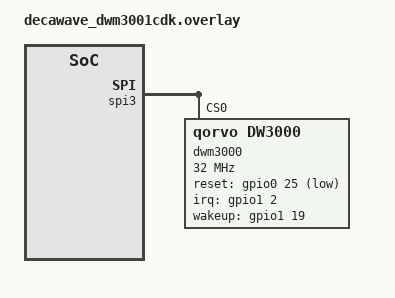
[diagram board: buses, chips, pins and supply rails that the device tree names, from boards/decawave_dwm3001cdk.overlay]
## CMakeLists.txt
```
cmake_minimum_required(VERSION 3.20)

set(BOARD decawave_dwm3001cdk)
set(DTS_ROOT ${CMAKE_CURRENT_SOURCE_DIR})
find_package(Zephyr REQUIRED HINTS $ENV{ZEPHYR_BASE})
project(uwb_bringup)

add_subdirectory(drivers/dw3000)

target_include_directories(app PRIVATE
    drivers/dw3000/inc
    drivers/platform
    lib/uwb
)
  
# target_link_libraries(app PRIVATE
#     ${CMAKE_CURRENT_SOURCE_DIR}/drivers/dw3000/lib/libdwt_uwb_driver-m4-hfp-6.0.14.a
# )

target_sources(app PRIVATE
    src/main.c
    drivers/platform/dw3000_spi.c
    drivers/platform/dw3000_hw.c
    drivers/platform/port.c
    drivers/platform/deca_port.c
    lib/uwb/uwb.c
)
```

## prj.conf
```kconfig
# --- Console / UART ---
CONFIG_UART_CONSOLE=y
CONFIG_PRINTK=y
CONFIG_CONSOLE_GETCHAR=y

# --- SPI (for DW3110) ---
CONFIG_SPI=y

# --- GPIO (for DW3110 reset and IRQ lines) ---
CONFIG_GPIO=y

# --- Logging (optional but useful during bring-up) ---
CONFIG_LOG=y
CONFIG_LOG_DEFAULT_LEVEL=3
CONFIG_LOG_MODE_IMMEDIATE=y

# --- Disable everything we are NOT using ---
CONFIG_BT=n
CONFIG_NETWORKING=n

# --- Stack / heap: Qorvo driver needs some room ---
CONFIG_MAIN_STACK_SIZE=4096
CONFIG_HEAP_MEM_POOL_SIZE=8192

CONFIG_FPU=y
CONFIG_FPU_SHARING=y
```

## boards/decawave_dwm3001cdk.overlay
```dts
// SPI property defined cause UWB module uses SPI connection

&spi3 {
    dwm3000: dw3000@0 {
        compatible = "qorvo,dw3000";
        spi-max-frequency = <32000000>;
        status = "okay";
        reg = <0>;
        reset-gpios = <&gpio0 25 GPIO_ACTIVE_LOW>;
        irq-gpios = <&gpio1 2 GPIO_ACTIVE_HIGH>;
        wakeup-gpios = <&gpio1 19 GPIO_ACTIVE_HIGH>;
        cs-gpios = <&gpio1 6 GPIO_ACTIVE_LOW>;
    };
};
```

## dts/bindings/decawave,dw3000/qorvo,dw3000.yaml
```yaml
# Copyright (c) 2022, Bruno Randolf <br1@einfach.org>
#
# SPDX-License-Identifier: Apache-2.0

description: Qorvo DW3000 (SPI)

compatible: "qorvo,dw3000"

include: spi-device.yaml

properties:
    reset-gpios:
      type: phandle-array
      required: true
      description: RESET pin (active low)

    irq-gpios:
      type: phandle-array
      required: true
      description: IRQ pin (active high)

    wakeup-gpios:
      type: phandle-array
      required: false
      description: WAKEUP pin (active low)

    spi-pol-gpios:
      type: phandle-array
      required: false
      description: SPI Polarity pin

    spi-pha-gpios:
      type: phandle-array
      required: false
      description: SPI Phase pin
      
    cs-gpios:
      type: phandle-array
      required: false
      description: SPI chip select pin
```

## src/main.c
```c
/* TDOA TAG (BLINK TRANSMITTER) */

#include <zephyr/kernel.h>
#include <zephyr/logging/log.h>

#include "deca_device_api.h"
#include "deca_probe_interface.h"
#include "dw3000_hw.h"
#include "port.h"

LOG_MODULE_REGISTER(tdoa_tag, LOG_LEVEL_INF);

#define ANT_DLY 26194

#define MSG_BLINK 0x20

static dwt_config_t config = {
    .chan = 9,
    .txPreambLength = DWT_PLEN_128,
    .rxPAC = DWT_PAC8,
    .txCode = 9,
    .rxCode = 9,
    .sfdType = DWT_SFD_DW_8,
    .dataRate = DWT_BR_6M8,
    .phrMode = DWT_PHRMODE_STD,
    .phrRate = DWT_PHRRATE_STD,
    .sfdTO = (129 + 8 - 8),
    .stsMode = DWT_STS_MODE_OFF,
    .stsLength = DWT_STS_LEN_64,
    .pdoaMode = DWT_PDOA_M0,
};

/* INIT */

static int uwb_init(void)
{
    dw_device_init();
    dw3000_hw_wakeup_pin_low();
    Sleep(5);

    port_set_dw_ic_spi_slowrate();

    if(dwt_probe((struct dwt_probe_s*)&dw3000_probe_interf)!=DWT_SUCCESS)
        return -1;

    port_set_dw_ic_spi_fastrate();

    if(dwt_initialise(DWT_DW_INIT)!=DWT_SUCCESS)
        return -1;

    if(dwt_configure(&config)!=DWT_SUCCESS)
        return -1;

    dwt_settxantennadelay(ANT_DLY);

    return 0;
}

/* BLINK LOOP */

static void tag_loop(void)
{
    uint8_t tx_buf[2];
    static uint8_t blink_seq = 0;

    while(1)
    {
        tx_buf[0] = MSG_BLINK;
        tx_buf[1] = blink_seq++;

        dwt_writetxdata(2, tx_buf, 0);
        dwt_writetxfctrl(2 + FCS_LEN, 0, 0);

        dwt_starttx(DWT_START_TX_IMMEDIATE);

        while(!(dwt_readsysstatuslo() &
               DWT_INT_TXFRS_BIT_MASK));

        dwt_writesysstatuslo(DWT_INT_TXFRS_BIT_MASK);

        LOG_INF("BLINK sent seq=%u", tx_buf[1]);

        k_msleep(100);  // 10 Hz
    }
}

int main(void)
{
    LOG_INF("TDOA Tag Start");

    if(uwb_init()!=0)
    {
        LOG_ERR("Init failed");
        return -1;
    }

    tag_loop();

    return 0;
}
```
